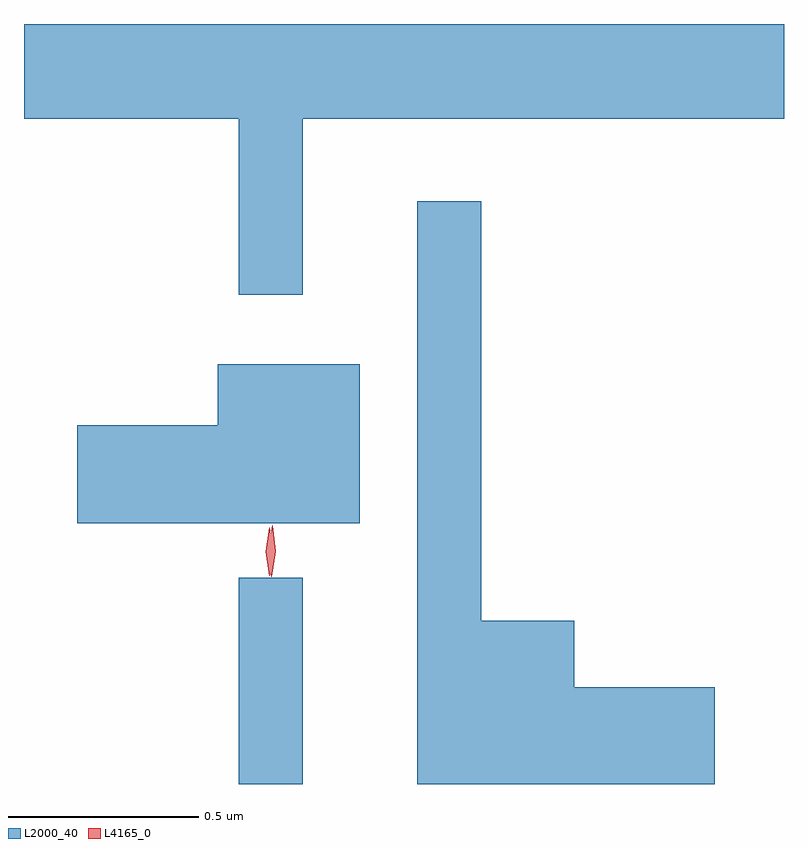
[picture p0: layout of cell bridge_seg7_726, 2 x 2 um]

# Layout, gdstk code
import gdstk
lib = gdstk.Library(unit=1e-6, precision=1e-09)
def R(c, l, rs):  # rectangles x0, y0, x1, y1
    for r in rs: c.add(gdstk.rectangle(r[:2], r[2:], *l))
def P(c, l, *ps):  # polygons
    for p in ps: c.add(gdstk.Polygon(p, *l))
L2000_40 = (2000, 40)
L4165_0 = (4165, 0)

bridge_seg7_726 = lib.new_cell('bridge_seg7_726')
R(bridge_seg7_726, L2000_40, [(923.901,1719.225,924.069,1719.768)])
P(bridge_seg7_726, L2000_40, [(924.069,1720.976),(925.336,1720.976),(925.336,1721.225),(923.336,1721.225),(923.336,1720.976),(923.901,1720.976),(923.901,1720.513),(924.069,1720.513)],
  [(925.154,1719.479),(924.784,1719.479),(924.784,1719.654),(924.539,1719.654),(924.539,1720.758),(924.371,1720.758),(924.371,1719.225),(925.154,1719.225)],
  [(924.219,1720.329),(923.846,1720.329),(923.846,1720.169),(923.476,1720.169),(923.476,1719.911),(924.219,1719.911)])
P(bridge_seg7_726, L4165_0, [(923.987,1719.77),(923.978,1719.838),(923.989,1719.905),(923.989,1719.906),(923.99,1719.905),(923.998,1719.838),(923.988,1719.77),(923.988,1719.77)],
  [(923.982,1719.773),(923.982,1719.773),(923.972,1719.836),(923.982,1719.899),(923.982,1719.9),(923.983,1719.899),(923.992,1719.836),(923.983,1719.773)])

lib.write_gds('bridge_seg7_726.gds')
